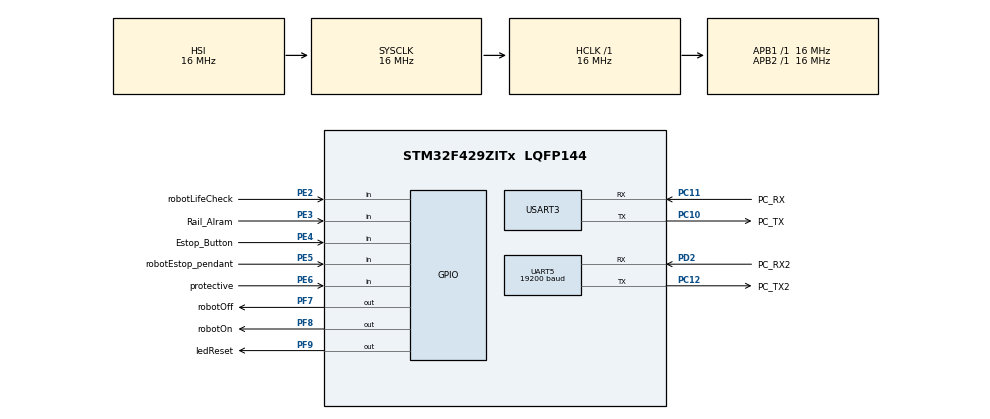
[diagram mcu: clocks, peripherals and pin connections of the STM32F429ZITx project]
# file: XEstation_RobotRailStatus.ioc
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Mcu.Family=STM32F4
Mcu.Name=STM32F429ZITx
Mcu.Package=LQFP144
NVIC.PriorityGroup=NVIC_PRIORITYGROUP_4
NVIC.UART5_IRQn=true\:0\:0\:false\:false\:true\:true\:true
PC10.GPIO_Label=PC_TX
PC10.Mode=Asynchronous
PC10.Signal=USART3_TX
PC11.GPIO_Label=PC_RX
PC11.Mode=Asynchronous
PC11.Signal=USART3_RX
PC12.GPIO_Label=PC_TX2
PC12.Mode=Asynchronous
PC12.Signal=UART5_TX
PD2.GPIO_Label=PC_RX2
PD2.Mode=Asynchronous
PD2.Signal=UART5_RX
PE2.GPIO_Label=robotLifeCheck
PE2.Signal=GPIO_Input
PE3.GPIO_Label=Rail_Alram
PE3.Signal=GPIO_Input
PE4.GPIO_Label=Estop_Button
PE4.Signal=GPIO_Input
PE5.GPIO_Label=robotEstop_pendant
PE5.Signal=GPIO_Input
PE6.GPIO_Label=protective
PE6.Signal=GPIO_Input
PF7.GPIO_Label=robotOff
PF7.Signal=GPIO_Output
PF8.GPIO_Label=robotOn
PF8.Signal=GPIO_Output
PF9.GPIO_Label=ledReset
PF9.Signal=GPIO_Output
ProjectManager.HeapSize=0x200
ProjectManager.StackSize=0x400
ProjectManager.TargetToolchain=STM32CubeIDE
RCC.AHBFreq_Value=16000000
RCC.APB1Freq_Value=16000000
RCC.APB2Freq_Value=16000000
RCC.CortexFreq_Value=16000000
RCC.HSE_VALUE=25000000
RCC.HSI_VALUE=16000000
RCC.LSE_VALUE=32768
RCC.SYSCLKFreq_VALUE=16000000
RCC.VCOOutputFreq_Value=192000000
TIM11.Prescaler=18-1
UART5.BaudRate=19200
UART5.VirtualMode=Asynchronous
USART3.VirtualMode=VM_ASYNC
VP_TIM11_VS_ClockSourceINT.Mode=Enable_Timer
board=custom

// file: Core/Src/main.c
/* USER CODE BEGIN Header */
/**
  ******************************************************************************
  * @file           : main.c
  * @brief          : Main program body
  ******************************************************************************
  * @attention
  *
  * <h2><center>&copy; Copyright (c) 2023 STMicroelectronics.
  * All rights reserved.</center></h2>
  *
  * This software component is licensed by ST under BSD 3-Clause license,
  * the "License"; You may not use this file except in compliance with the
  * License. You may obtain a copy of the License at:
  *                        opensource.org/licenses/BSD-3-Clause
  *
  ******************************************************************************
  */
/* USER CODE END Header */
#include "main.h"

/* USER CODE BEGIN PD */
#define timer_ms(t) (int)(t/10)
#define ROBOT_ON  1
#define ROBOT_OFF 0
#define LED_RESET 2

// PC protocol
#define STX_idx 		0
#define LEN_idx 		1
#define SYNC_NUM_idx 	2
#define CMD_idx 		3
#define DEV_ID_idx 		4
#define DATA_idx 		5

#define STX_val 		0x02
#define ETX_val 		0x03
// DEV_LIST
#define ID_BOO	 		0x11

// PC_CMD_LIST
#define get_status 		0x00
#define connect 		0x01
#define disconnect 		0x02
#define get_connection 	0x03
#define is_connected	0x04
#define stop 			0x05
#define is_stop 		0x06
#define initialize 		0x07
#define get_error 		0x08
#define robot_boot 		0x09
#define led_boot 		0x0a
#define get_data 		0x0b

//
#define robotLifeCheck 0
#define Estop_Button 1
#define robotEstop_pendant 2
#define protective 3
#define Rail_Alram 4

/* USER CODE END PD */

TIM_HandleTypeDef htim11;

UART_HandleTypeDef huart5;
UART_HandleTypeDef huart3;

/* USER CODE BEGIN PV */
uint8_t PC_CMD_arr[100];
bool 	ID_BOO_flag;
uint8_t process_idx;
uint32_t boo_timer_cnt;
bool boo_timer_flag;

GPIO_TypeDef * robotRail_GPIO_Port[] 	= {robotLifeCheck_GPIO_Port,
											Estop_Button_GPIO_Port,
											robotEstop_pendant_GPIO_Port,
											protective_GPIO_Port,
											Rail_Alram_GPIO_Port};

uint16_t* 		robotRail_Pin[] 		= {robotLifeCheck_Pin,
											Estop_Button_Pin,
											robotEstop_pendant_Pin,
											protective_Pin,
											Rail_Alram_Pin};

/* USER CODE END PV */

void SystemClock_Config(void);
static void MX_GPIO_Init(void);
static void MX_USART3_UART_Init(void);
static void MX_TIM11_Init(void);
static void MX_UART5_Init(void);

/* USER CODE BEGIN 0 */
int _write(int file, char *ptr, int len)
{
	if(HAL_UART_Transmit(&huart3, (uint8_t *)ptr, len, 10) == HAL_OK)
		return len;
	return -1;
}

void receivePcCmd(void)
{
	uint8_t buf = 0;
	uint8_t stx = 0;
	uint8_t len = 0;

	// receive packet
	HAL_UART_Receive(&huart3, &stx, sizeof(stx), 10);

	// STX
	if (stx == 0x02)
	{
		// LEN
		HAL_UART_Receive(&huart3, &len, sizeof(len), 10);
		uint8_t *data_arr = (uint8_t*)malloc(sizeof(uint8_t) * (len+2));

		for(int i=0; i<len+2; i++){
			data_arr[i] = 0;
		}

		data_arr[0] = stx;
		data_arr[1] = len;

		for(int i=2; i<len+1; i++)
		{
			HAL_UART_Receive(&huart3, &buf, sizeof(buf), 10);

			if(buf != NULL)
				data_arr[i] = buf;
		}

		// check checksum
		for(int i = 2; i < len; i++)
			data_arr[len+1] ^= data_arr[i];

		// EXECUTION CODE
		for(int i=0; i<len+2; i++){ // for test
			PC_CMD_arr[i] = data_arr[i];
		}

		free(data_arr);
	}

}
void init_bootStop(void)
{
	HAL_GPIO_WritePin(robotOn_GPIO_Port, robotOn_Pin, GPIO_PIN_RESET);	// Relay Open
	HAL_GPIO_WritePin(robotOff_GPIO_Port, robotOff_Pin, GPIO_PIN_RESET);	// Relay Open
	HAL_GPIO_WritePin(ledReset_GPIO_Port, ledReset_Pin, GPIO_PIN_RESET);	// Relay Open
}

void BOO()
{
	switch(PC_CMD_arr[CMD_idx]){

	case get_status:
		break;
	case connect:
		break;
	case disconnect:
		break;
	case get_connection:
		break;
	case is_connected:
		break;
	case stop:
		break;
	case is_stop:
		break;

	case initialize:
		init_bootStop();
		break;

	case get_error:
		break;

	case robot_boot:
		switch(PC_CMD_arr[DATA_idx])
		{
			case ROBOT_ON:
				switch(process_idx){
					case 0:
						HAL_GPIO_WritePin(robotOn_GPIO_Port, robotOn_Pin, GPIO_PIN_SET);	// Relay Open
						process_idx ++;
						boo_timer_flag = true;
						break;

					case 1:
						if(boo_timer_flag == true && boo_timer_cnt > timer_ms(500)){
							HAL_GPIO_WritePin(robotOn_GPIO_Port, robotOn_Pin, GPIO_PIN_RESET);	// Relay Open
							process_idx = 0;
							uint8_t statusData[1] = {1};
							resonsePacket(statusData, sizeof(statusData));
							ID_BOO_flag = false;
						}
						break;
					}
				break;

			case ROBOT_OFF:
				switch(process_idx){
					case 0:
						HAL_GPIO_WritePin(robotOff_GPIO_Port, robotOff_Pin, GPIO_PIN_SET);	// Relay Open
						process_idx ++;
						boo_timer_flag = true;
						break;

					case 1:
						if(boo_timer_flag == true && boo_timer_cnt > timer_ms(500)){
							HAL_GPIO_WritePin(robotOff_GPIO_Port, robotOff_Pin, GPIO_PIN_RESET);	// Relay Open
							process_idx = 0;
							uint8_t statusData[1] = {1};
							resonsePacket(statusData, sizeof(statusData));
							ID_BOO_flag = false;
						}
						break;
					}
				break;
		}

	case led_boot:
		switch(process_idx){
			case 0:
				HAL_GPIO_WritePin(ledReset_GPIO_Port, ledReset_Pin, GPIO_PIN_SET);	// Relay Open
				process_idx ++;
				boo_timer_flag = true;
				break;

			case 1:
				if(boo_timer_flag == true && boo_timer_cnt > timer_ms(500)){
					HAL_GPIO_WritePin(ledReset_GPIO_Port, ledReset_Pin, GPIO_PIN_RESET);	// Relay Open
					process_idx = 0;

					uint8_t statusData[1] = {1};
					resonsePacket(statusData, sizeof(statusData));

					ID_BOO_flag = false;

					HAL_UART_Transmit(&huart5, data_arr, data_arr[len]+2, 100);
				}
				break;
			}
		break;

	case get_data:
		uint8_t statusData[5] = {0};

		for(int i=0; i<dataLen; i++){
			statusData[i] = HAL_GPIO_ReadPin(get_data, robotRail_GPIO_Port[i], robotRail_Pin[i]);
		}

		// make packet
		resonsePacket(statusData, sizeof(statusData));

		ID_BOO_flag = false;
		break;
	}
}

void resonsePacket(int8_t* dataPacket, uint8_t dataLen)
{
	// make packet
	uint8_t len = 5+dataLen;

	uint8_t *data_arr = (uint8_t*)malloc(sizeof(uint8_t) * (len+2));

	for(int i=0; i<len+2; i++){
		data_arr[i] = 0;
	}

	data_arr[STX_idx] = stx;
	data_arr[LEN_idx] = len;

	data_arr[SYNC_NUM_idx] = PC_CMD_arr[SYNC_NUM_idx];
	data_arr[CMD_idx] = PC_CMD_arr[CMD_idx];
	data_arr[DEV_ID_idx] = ID_BOO;

	// data init
	for(int i=0; i<dataLen; i++){
		data_arr[DATA_idx] = dataPacket[i];
	}
	// calc checksum
	for(int i = 2; i < len; i++)
		data_arr[len+1] ^= data_arr[i];

	HAL_UART_Transmit(&huart5, data_arr, data_arr[len]+2, 100);
	free(data_arr);
}

/* USER CODE END 0 */

int main(void)
{

  /* MCU Configuration--------------------------------------------------------*/

  /* Reset of all peripherals, Initializes the Flash interface and the Systick. */
  HAL_Init();

  /* Configure the system clock */
  SystemClock_Config();

  /* Initialize all configured peripherals */
  MX_GPIO_Init();
  MX_USART3_UART_Init();
  MX_TIM11_Init();
  MX_UART5_Init();
  /* USER CODE BEGIN 2 */

  init_bootStop();
  ID_BOO_flag = false;
  process_idx = 0;
  boo_timer_cnt = 0;
  boo_timer_flag = false;

  /* USER CODE END 2 */

  /* Infinite loop */
  while (1)
  {

    /* USER CODE BEGIN 3 */
	  receivePcCmd();

	  if(ID_BOO_flag == true){
		  BOO();
	  }

  }
  /* USER CODE END 3 */
}

void SystemClock_Config(void)
{
  RCC_OscInitTypeDef RCC_OscInitStruct = {0};
  RCC_ClkInitTypeDef RCC_ClkInitStruct = {0};

  /** Configure the main internal regulator output voltage
  */
  __HAL_RCC_PWR_CLK_ENABLE();
  __HAL_PWR_VOLTAGESCALING_CONFIG(PWR_REGULATOR_VOLTAGE_SCALE3);
  /** Initializes the RCC Oscillators according to the specified parameters
  * in the RCC_OscInitTypeDef structure.
  */
  RCC_OscInitStruct.OscillatorType = RCC_OSCILLATORTYPE_HSI;
  RCC_OscInitStruct.HSIState = RCC_HSI_ON;
  RCC_OscInitStruct.HSICalibrationValue = RCC_HSICALIBRATION_DEFAULT;
  RCC_OscInitStruct.PLL.PLLState = RCC_PLL_NONE;
  if (HAL_RCC_OscConfig(&RCC_OscInitStruct) != HAL_OK)
  {
    Error_Handler();
  }
  /** Initializes the CPU, AHB and APB buses clocks
  */
  RCC_ClkInitStruct.ClockType = RCC_CLOCKTYPE_HCLK|RCC_CLOCKTYPE_SYSCLK
                              |RCC_CLOCKTYPE_PCLK1|RCC_CLOCKTYPE_PCLK2;
  RCC_ClkInitStruct.SYSCLKSource = RCC_SYSCLKSOURCE_HSI;
  RCC_ClkInitStruct.AHBCLKDivider = RCC_SYSCLK_DIV1;
  RCC_ClkInitStruct.APB1CLKDivider = RCC_HCLK_DIV1;
  RCC_ClkInitStruct.APB2CLKDivider = RCC_HCLK_DIV1;

  if (HAL_RCC_ClockConfig(&RCC_ClkInitStruct, FLASH_LATENCY_0) != HAL_OK)
  {
    Error_Handler();
  }
}

static void MX_TIM11_Init(void)
{

  htim11.Instance = TIM11;
  htim11.Init.Prescaler = 18-1;
  htim11.Init.CounterMode = TIM_COUNTERMODE_UP;
  htim11.Init.Period = 65535;
  htim11.Init.ClockDivision = TIM_CLOCKDIVISION_DIV1;
  htim11.Init.AutoReloadPreload = TIM_AUTORELOAD_PRELOAD_DISABLE;
  if (HAL_TIM_Base_Init(&htim11) != HAL_OK)
  {
    Error_Handler();
  }

}

static void MX_UART5_Init(void)
{

  huart5.Instance = UART5;
  huart5.Init.BaudRate = 19200;
  huart5.Init.WordLength = UART_WORDLENGTH_8B;
  huart5.Init.StopBits = UART_STOPBITS_1;
  huart5.Init.Parity = UART_PARITY_NONE;
  huart5.Init.Mode = UART_MODE_TX_RX;
  huart5.Init.HwFlowCtl = UART_HWCONTROL_NONE;
  huart5.Init.OverSampling = UART_OVERSAMPLING_16;
  if (HAL_UART_Init(&huart5) != HAL_OK)
  {
    Error_Handler();
  }

}

static void MX_USART3_UART_Init(void)
{

  huart3.Instance = USART3;
  huart3.Init.BaudRate = 115200;
  huart3.Init.WordLength = UART_WORDLENGTH_8B;
  huart3.Init.StopBits = UART_STOPBITS_1;
  huart3.Init.Parity = UART_PARITY_NONE;
  huart3.Init.Mode = UART_MODE_TX_RX;
  huart3.Init.HwFlowCtl = UART_HWCONTROL_NONE;
  huart3.Init.OverSampling = UART_OVERSAMPLING_16;
  if (HAL_UART_Init(&huart3) != HAL_OK)
  {
    Error_Handler();
  }

}

static void MX_GPIO_Init(void)
{
  GPIO_InitTypeDef GPIO_InitStruct = {0};

  /* GPIO Ports Clock Enable */
  __HAL_RCC_GPIOE_CLK_ENABLE();
  __HAL_RCC_GPIOF_CLK_ENABLE();
  __HAL_RCC_GPIOC_CLK_ENABLE();
  __HAL_RCC_GPIOD_CLK_ENABLE();

  /*Configure GPIO pin Output Level */
  HAL_GPIO_WritePin(GPIOF, robotOff_Pin|robotOn_Pin|ledReset_Pin, GPIO_PIN_RESET);

  /*Configure GPIO pins : robotLifeCheck_Pin Rail_Alram_Pin Estop_Button_Pin robotEstop_pendant_Pin
                           protective_Pin */
  GPIO_InitStruct.Pin = robotLifeCheck_Pin|Rail_Alram_Pin|Estop_Button_Pin|robotEstop_pendant_Pin
                          |protective_Pin;
  GPIO_InitStruct.Mode = GPIO_MODE_INPUT;
  GPIO_InitStruct.Pull = GPIO_NOPULL;
  HAL_GPIO_Init(GPIOE, &GPIO_InitStruct);

  /*Configure GPIO pins : robotOff_Pin robotOn_Pin ledReset_Pin */
  GPIO_InitStruct.Pin = robotOff_Pin|robotOn_Pin|ledReset_Pin;
  GPIO_InitStruct.Mode = GPIO_MODE_OUTPUT_PP;
  GPIO_InitStruct.Pull = GPIO_NOPULL;
  GPIO_InitStruct.Speed = GPIO_SPEED_FREQ_LOW;
  HAL_GPIO_Init(GPIOF, &GPIO_InitStruct);

}

void Error_Handler(void)
{
  __disable_irq();
  while (1)
  {
  }
}

/************************ (C) COPYRIGHT STMicroelectronics *****END OF FILE****/
